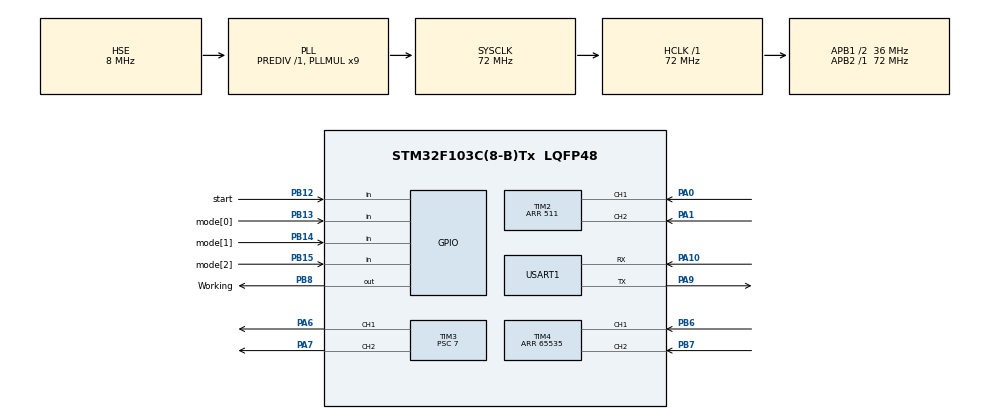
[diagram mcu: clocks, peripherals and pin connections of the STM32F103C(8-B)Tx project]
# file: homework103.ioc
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FREERTOS.INCLUDE_vTaskDelayUntil=1
FREERTOS.Tasks01=defaultTask,0,128,StartDefaultTask
Mcu.Family=STM32F1
Mcu.Name=STM32F103C(8-B)Tx
Mcu.Package=LQFP48
NVIC.PriorityGroup=NVIC_PRIORITYGROUP_4
PA0-WKUP.Signal=S_TIM2_CH1_ETR
PA1.Signal=S_TIM2_CH2
PA10.Mode=Asynchronous
PA10.Signal=USART1_RX
PA6.Signal=S_TIM3_CH1
PA7.Signal=S_TIM3_CH2
PA9.Mode=Asynchronous
PA9.Signal=USART1_TX
PB12.GPIO_Label=start
PB12.GPIO_Mode=GPIO_MODE_INPUT
PB12.GPIO_PuPd=GPIO_PULLUP
PB12.Signal=GPIO_Input
PB13.GPIO_Label=mode[0]
PB13.GPIO_Mode=GPIO_MODE_INPUT
PB13.GPIO_PuPd=GPIO_PULLUP
PB13.Signal=GPIO_Input
PB14.GPIO_Label=mode[1]
PB14.GPIO_Mode=GPIO_MODE_INPUT
PB14.GPIO_PuPd=GPIO_PULLUP
PB14.Signal=GPIO_Input
PB15.GPIO_Label=mode[2]
PB15.GPIO_Mode=GPIO_MODE_INPUT
PB15.GPIO_PuPd=GPIO_PULLUP
PB15.Signal=GPIO_Input
PB6.Signal=S_TIM4_CH1
PB7.Signal=S_TIM4_CH2
PB8.GPIO_Label=Working
PB8.GPIO_ModeDefaultOutputPP=GPIO_MODE_OUTPUT_PP
PB8.GPIO_Speed=GPIO_SPEED_LOW
PB8.Signal=GPIO_Output
PC14-OSC32_IN.Mode=LSE-External-Oscillator
PC14-OSC32_IN.Signal=RCC_OSC32_IN
PC15-OSC32_OUT.Mode=LSE-External-Oscillator
PC15-OSC32_OUT.Signal=RCC_OSC32_OUT
PD0-OSC_IN.Mode=HSE-External-Oscillator
PD0-OSC_IN.Signal=RCC_OSC_IN
PD1-OSC_OUT.Mode=HSE-External-Oscillator
PD1-OSC_OUT.Signal=RCC_OSC_OUT
ProjectManager.TargetToolchain=MDK-ARM 4.73
RCC.AHBFreq_Value=72000000
RCC.APB1CLKDivider=RCC_HCLK_DIV2
RCC.APB1Freq_Value=36000000
RCC.APB1TimFreq_Value=72000000
RCC.APB2Freq_Value=72000000
RCC.APB2TimFreq_Value=72000000
RCC.HCLKFreq_Value=72000000
RCC.HSIState=RCC_HSI_ON
RCC.PLLMUL=RCC_PLL_MUL9
RCC.PLLSourceVirtual=RCC_PLLSOURCE_HSE
RCC.SYSCLKFreq_VALUE=72000000
RCC.SYSCLKSource=RCC_SYSCLKSOURCE_PLLCLK
RCC.USBFreq_Value=72000000
SH.S_TIM2_CH1_ETR.0=TIM2_CH1,Encoder_Interface
SH.S_TIM2_CH2.0=TIM2_CH2,Encoder_Interface
SH.S_TIM3_CH1.0=TIM3_CH1,PWM Generation1 CH1
SH.S_TIM3_CH2.0=TIM3_CH2,PWM Generation2 CH2
SH.S_TIM4_CH1.0=TIM4_CH1,Encoder_Interface
SH.S_TIM4_CH2.0=TIM4_CH2,Encoder_Interface
TIM2.EncoderMode=TIM_ENCODERMODE_TI12
TIM2.Period=511
TIM3.Channel-PWM\ Generation2\ CH2=TIM_CHANNEL_2
TIM3.OCMode_PWM-PWM\ Generation1\ CH1=TIM_OCMODE_PWM2
TIM3.OCMode_PWM-PWM\ Generation2\ CH2=TIM_OCMODE_PWM2
TIM3.OCPolarity_1-PWM\ Generation1\ CH1=TIM_OCPOLARITY_LOW
TIM3.OCPolarity_2-PWM\ Generation2\ CH2=TIM_OCPOLARITY_LOW
TIM3.Period=999
TIM3.Prescaler=7
TIM3.Pulse-PWM\ Generation1\ CH1=0
TIM3.Pulse-PWM\ Generation2\ CH2=0
TIM4.EncoderMode=TIM_ENCODERMODE_TI12
TIM4.Period=65535
USART1.Mode-Asynchronous=UART_MODE_TX_RX
VP_FREERTOS_VS_ENABLE.Mode=Enabled
VP_TIM3_VS_ClockSourceINT.Mode=Internal

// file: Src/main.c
/**
  ******************************************************************************
  * File Name          : main.c
  * Date               : 10/03/2015 21:14:03
  * Description        : Main program body
  ******************************************************************************
  *
  * COPYRIGHT(c) 2015 STMicroelectronics
  *
  * Redistribution and use in source and binary forms, with or without modification,
  * are permitted provided that the following conditions are met:
  *   1. Redistributions of source code must retain the above copyright notice,
  *      this list of conditions and the following disclaimer.
  *   2. Redistributions in binary form must reproduce the above copyright notice,
  *      this list of conditions and the following disclaimer in the documentation
  *      and/or other materials provided with the distribution.
  *   3. Neither the name of STMicroelectronics nor the names of its contributors
  *      may be used to endorse or promote products derived from this software
  *      without specific prior written permission.
  *
  * THIS SOFTWARE IS PROVIDED BY THE COPYRIGHT HOLDERS AND CONTRIBUTORS "AS IS"
  * AND ANY EXPRESS OR IMPLIED WARRANTIES, INCLUDING, BUT NOT LIMITED TO, THE
  * IMPLIED WARRANTIES OF MERCHANTABILITY AND FITNESS FOR A PARTICULAR PURPOSE ARE
  * DISCLAIMED. IN NO EVENT SHALL THE COPYRIGHT HOLDER OR CONTRIBUTORS BE LIABLE
  * FOR ANY DIRECT, INDIRECT, INCIDENTAL, SPECIAL, EXEMPLARY, OR CONSEQUENTIAL
  * DAMAGES (INCLUDING, BUT NOT LIMITED TO, PROCUREMENT OF SUBSTITUTE GOODS OR
  * SERVICES; LOSS OF USE, DATA, OR PROFITS; OR BUSINESS INTERRUPTION) HOWEVER
  * CAUSED AND ON ANY THEORY OF LIABILITY, WHETHER IN CONTRACT, STRICT LIABILITY,
  * OR TORT (INCLUDING NEGLIGENCE OR OTHERWISE) ARISING IN ANY WAY OUT OF THE USE
  * OF THIS SOFTWARE, EVEN IF ADVISED OF THE POSSIBILITY OF SUCH DAMAGE.
  *
  ******************************************************************************
  */

#include "stm32f1xx_hal.h"
#include "cmsis_os.h"

/* USER CODE BEGIN Includes */
#include <stdio.h>
#include <string.h>
#include <Motor.h>
#include <PID.h>
#include <mode.h>
#include <mytasks.h>

/* USER CODE END Includes */

TIM_HandleTypeDef htim2;
TIM_HandleTypeDef htim3;
TIM_HandleTypeDef htim4;

UART_HandleTypeDef huart1;

osThreadId defaultTaskHandle;

/* USER CODE BEGIN PV */

portBASE_TYPE taskstate;

/* USER CODE END PV */

void SystemClock_Config(void);
static void MX_GPIO_Init(void);
static void MX_TIM2_Init(void);
static void MX_TIM3_Init(void);
static void MX_TIM4_Init(void);
static void MX_USART1_UART_Init(void);
void StartDefaultTask(void const * argument);

int main(void)
{

  /* MCU Configuration----------------------------------------------------------*/

  /* Reset of all peripherals, Initializes the Flash interface and the Systick. */
  HAL_Init();

  /* Configure the system clock */
  SystemClock_Config();

  /* Initialize all configured peripherals */
  MX_GPIO_Init();
  MX_TIM2_Init();
  MX_TIM3_Init();
  MX_TIM4_Init();
  MX_USART1_UART_Init();

  /* USER CODE BEGIN 2 */
	HAL_TIM_Encoder_Start(&htim2,TIM_CHANNEL_1);
	HAL_TIM_Encoder_Start(&htim2,TIM_CHANNEL_2);

	HAL_TIM_PWM_Start(&htim3,TIM_CHANNEL_1);
	HAL_TIM_PWM_Start(&htim3,TIM_CHANNEL_2);

	HAL_TIM_Encoder_Start(&htim4,TIM_CHANNEL_1);
	HAL_TIM_Encoder_Start(&htim4,TIM_CHANNEL_2);

	LED_OFF;
  /* USER CODE END 2 */

  /* Create the thread(s) */
  /* definition and creation of defaultTask */
  osThreadDef(defaultTask, StartDefaultTask, osPriorityNormal, 0, 128);
  defaultTaskHandle = osThreadCreate(osThread(defaultTask), NULL);

  /* USER CODE BEGIN RTOS_THREADS */
  /* add threads, ... */
	taskstate = xTaskCreate(balance_bar,"balance bar",128, NULL,2,NULL );
	if(taskstate != pdTRUE)
		while(1);
  /* USER CODE END RTOS_THREADS */

  /* Start scheduler */
  osKernelStart();

  /* We should never get here as control is now taken by the scheduler */

  while (1)
  {
  }

}

/** System Clock Configuration
*/
void SystemClock_Config(void)
{

  RCC_OscInitTypeDef RCC_OscInitStruct;
  RCC_ClkInitTypeDef RCC_ClkInitStruct;

  RCC_OscInitStruct.OscillatorType = RCC_OSCILLATORTYPE_HSE;
  RCC_OscInitStruct.HSEState = RCC_HSE_ON;
  RCC_OscInitStruct.HSEPredivValue = RCC_HSE_PREDIV_DIV1;
  RCC_OscInitStruct.PLL.PLLState = RCC_PLL_ON;
  RCC_OscInitStruct.PLL.PLLSource = RCC_PLLSOURCE_HSE;
  RCC_OscInitStruct.PLL.PLLMUL = RCC_PLL_MUL9;
  HAL_RCC_OscConfig(&RCC_OscInitStruct);

  RCC_ClkInitStruct.ClockType = RCC_CLOCKTYPE_SYSCLK|RCC_CLOCKTYPE_PCLK1;
  RCC_ClkInitStruct.SYSCLKSource = RCC_SYSCLKSOURCE_PLLCLK;
  RCC_ClkInitStruct.AHBCLKDivider = RCC_SYSCLK_DIV1;
  RCC_ClkInitStruct.APB1CLKDivider = RCC_HCLK_DIV2;
  RCC_ClkInitStruct.APB2CLKDivider = RCC_HCLK_DIV1;
  HAL_RCC_ClockConfig(&RCC_ClkInitStruct, FLASH_LATENCY_2);

  __HAL_RCC_AFIO_CLK_ENABLE();

}

/* TIM2 init function */
void MX_TIM2_Init(void)
{

  TIM_Encoder_InitTypeDef sConfig;
  TIM_MasterConfigTypeDef sMasterConfig;

  htim2.Instance = TIM2;
  htim2.Init.Prescaler = 0;
  htim2.Init.CounterMode = TIM_COUNTERMODE_UP;
  htim2.Init.Period = 511;
  htim2.Init.ClockDivision = TIM_CLOCKDIVISION_DIV1;
  sConfig.EncoderMode = TIM_ENCODERMODE_TI12;
  sConfig.IC1Polarity = TIM_ICPOLARITY_RISING;
  sConfig.IC1Selection = TIM_ICSELECTION_DIRECTTI;
  sConfig.IC1Prescaler = TIM_ICPSC_DIV1;
  sConfig.IC1Filter = 0;
  sConfig.IC2Polarity = TIM_ICPOLARITY_RISING;
  sConfig.IC2Selection = TIM_ICSELECTION_DIRECTTI;
  sConfig.IC2Prescaler = TIM_ICPSC_DIV1;
  sConfig.IC2Filter = 0;
  HAL_TIM_Encoder_Init(&htim2, &sConfig);

  sMasterConfig.MasterOutputTrigger = TIM_TRGO_RESET;
  sMasterConfig.MasterSlaveMode = TIM_MASTERSLAVEMODE_DISABLE;
  HAL_TIMEx_MasterConfigSynchronization(&htim2, &sMasterConfig);

}

/* TIM3 init function */
void MX_TIM3_Init(void)
{

  TIM_ClockConfigTypeDef sClockSourceConfig;
  TIM_MasterConfigTypeDef sMasterConfig;
  TIM_OC_InitTypeDef sConfigOC;

  htim3.Instance = TIM3;
  htim3.Init.Prescaler = 7;
  htim3.Init.CounterMode = TIM_COUNTERMODE_UP;
  htim3.Init.Period = 999;
  htim3.Init.ClockDivision = TIM_CLOCKDIVISION_DIV1;
  HAL_TIM_Base_Init(&htim3);

  sClockSourceConfig.ClockSource = TIM_CLOCKSOURCE_INTERNAL;
  HAL_TIM_ConfigClockSource(&htim3, &sClockSourceConfig);

  HAL_TIM_PWM_Init(&htim3);

  sMasterConfig.MasterOutputTrigger = TIM_TRGO_RESET;
  sMasterConfig.MasterSlaveMode = TIM_MASTERSLAVEMODE_DISABLE;
  HAL_TIMEx_MasterConfigSynchronization(&htim3, &sMasterConfig);

  sConfigOC.OCMode = TIM_OCMODE_PWM2;
  sConfigOC.Pulse = 0;
  sConfigOC.OCPolarity = TIM_OCPOLARITY_LOW;
  sConfigOC.OCFastMode = TIM_OCFAST_DISABLE;
  HAL_TIM_PWM_ConfigChannel(&htim3, &sConfigOC, TIM_CHANNEL_1);

  HAL_TIM_PWM_ConfigChannel(&htim3, &sConfigOC, TIM_CHANNEL_2);

}

/* TIM4 init function */
void MX_TIM4_Init(void)
{

  TIM_Encoder_InitTypeDef sConfig;
  TIM_MasterConfigTypeDef sMasterConfig;

  htim4.Instance = TIM4;
  htim4.Init.Prescaler = 0;
  htim4.Init.CounterMode = TIM_COUNTERMODE_UP;
  htim4.Init.Period = 65535;
  htim4.Init.ClockDivision = TIM_CLOCKDIVISION_DIV1;
  sConfig.EncoderMode = TIM_ENCODERMODE_TI12;
  sConfig.IC1Polarity = TIM_ICPOLARITY_RISING;
  sConfig.IC1Selection = TIM_ICSELECTION_DIRECTTI;
  sConfig.IC1Prescaler = TIM_ICPSC_DIV1;
  sConfig.IC1Filter = 0;
  sConfig.IC2Polarity = TIM_ICPOLARITY_RISING;
  sConfig.IC2Selection = TIM_ICSELECTION_DIRECTTI;
  sConfig.IC2Prescaler = TIM_ICPSC_DIV1;
  sConfig.IC2Filter = 0;
  HAL_TIM_Encoder_Init(&htim4, &sConfig);

  sMasterConfig.MasterOutputTrigger = TIM_TRGO_RESET;
  sMasterConfig.MasterSlaveMode = TIM_MASTERSLAVEMODE_DISABLE;
  HAL_TIMEx_MasterConfigSynchronization(&htim4, &sMasterConfig);

}

/* USART1 init function */
void MX_USART1_UART_Init(void)
{

  huart1.Instance = USART1;
  huart1.Init.BaudRate = 115200;
  huart1.Init.WordLength = UART_WORDLENGTH_8B;
  huart1.Init.StopBits = UART_STOPBITS_1;
  huart1.Init.Parity = UART_PARITY_NONE;
  huart1.Init.Mode = UART_MODE_TX_RX;
  huart1.Init.HwFlowCtl = UART_HWCONTROL_NONE;
  huart1.Init.OverSampling = UART_OVERSAMPLING_16;
  HAL_UART_Init(&huart1);

}

/** Configure pins as
        * Analog
        * Input
        * Output
        * EVENT_OUT
        * EXTI
*/
void MX_GPIO_Init(void)
{

  GPIO_InitTypeDef GPIO_InitStruct;

  /* GPIO Ports Clock Enable */
  __GPIOC_CLK_ENABLE();
  __GPIOD_CLK_ENABLE();
  __GPIOA_CLK_ENABLE();
  __GPIOB_CLK_ENABLE();

  /*Configure GPIO pins : PB12 PB13 PB14 PB15 */
  GPIO_InitStruct.Pin = GPIO_PIN_12|GPIO_PIN_13|GPIO_PIN_14|GPIO_PIN_15;
  GPIO_InitStruct.Mode = GPIO_MODE_INPUT;
  GPIO_InitStruct.Pull = GPIO_PULLUP;
  HAL_GPIO_Init(GPIOB, &GPIO_InitStruct);

  /*Configure GPIO pin : PB8 */
  GPIO_InitStruct.Pin = GPIO_PIN_8;
  GPIO_InitStruct.Mode = GPIO_MODE_OUTPUT_PP;
  GPIO_InitStruct.Speed = GPIO_SPEED_LOW;
  HAL_GPIO_Init(GPIOB, &GPIO_InitStruct);

}

void StartDefaultTask(void const * argument)
{

  for(;;)
  {
    osDelay(1);
  }

}

/************************ (C) COPYRIGHT STMicroelectronics *****END OF FILE****/
